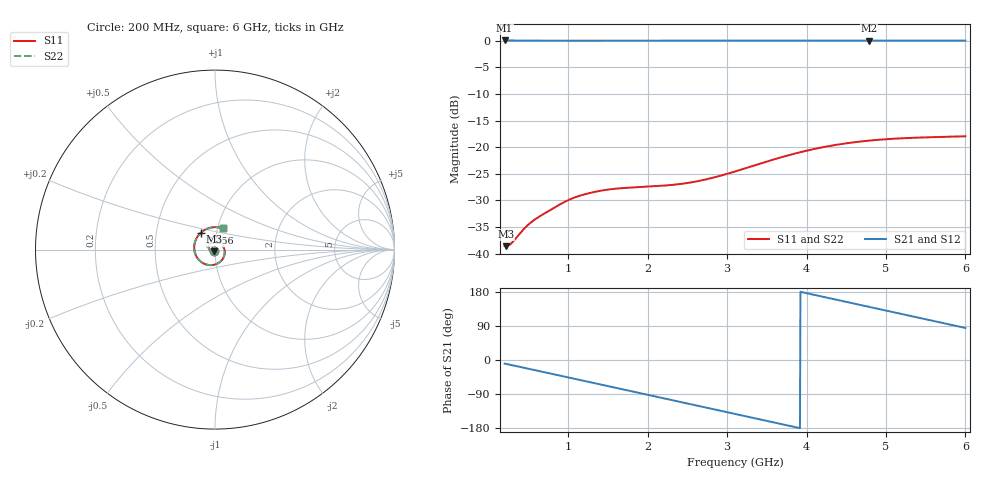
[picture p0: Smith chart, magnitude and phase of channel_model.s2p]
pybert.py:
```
import pandas as pd
import numpy as np

# 1. Загружаем CSV (проверь, что разделитель - табуляция или запятая. 
# Если файл разделен табуляцией, используй sep='\t', если запятой - sep=',')
df = pd.read_csv('ems/results/Port_0_data.csv', sep=',') # Попробуй sep=',' если возникнет ошибка

# 2. Извлекаем и конвертируем данные
# Частота: из МГц в ГГц
freq_ghz = df['Frequency [MHz]'] / 1000.0

# S11 (отражение на порту 1): берем модуль и переводим фазу из радиан в градусы
s11_mag = df['|S0-0| [-]']
s11_ang = np.degrees(df['Arg(S0-0) [rad]'])

# S21 (передача от порта 0 к порту 1): модуль и фаза в градусах
s21_mag = df['|S1-0| [-]']
s21_ang = np.degrees(df['Arg(S1-0) [rad]'])

# 3. Применяем допущение о симметрии и взаимности для пассивного канала
s22_mag = s11_mag.copy()
s22_ang = s11_ang.copy()
s12_mag = s21_mag.copy()
s12_ang = s21_ang.copy()

# 4. Собираем в новый DataFrame в строгом порядке для Touchstone:
# Freq, S11, S21, S12, S22
touchstone_df = pd.DataFrame({
    'freq': freq_ghz,
    's11_mag': s11_mag, 's11_ang': s11_ang,
    's21_mag': s21_mag, 's21_ang': s21_ang,
    's12_mag': s12_mag, 's12_ang': s12_ang,
    's22_mag': s22_mag, 's22_ang': s22_ang
})

# 5. Сохраняем в формат Touchstone (.s2p)
output_file = 'channel_model.s2p'
with open(output_file, 'w') as f:
    f.write("! Touchstone file converted from gerber2ems Port_0_data.csv\n")
    f.write("! Assumption: Channel is reciprocal and symmetric (S11=S22, S21=S12)\n")
    f.write("# GHz S MA R 50.0\n") # MA = Magnitude/Angle, R 50.0 = 50 Ом
    
    # Записываем строки данных
    for index, row in touchstone_df.iterrows():
        f.write(f"{row['freq']:.6e} "
                f"{row['s11_mag']:.6e} {row['s11_ang']:.6f} "
                f"{row['s21_mag']:.6e} {row['s21_ang']:.6f} "
                f"{row['s12_mag']:.6e} {row['s12_ang']:.6f} "
                f"{row['s22_mag']:.6e} {row['s22_ang']:.6f}\n")

print(f"✅ Файл успешно сохранен как {output_file}")
print("Не забудь проверить в PyBERT галочку 'Enforce Passivity' при загрузке!")
```
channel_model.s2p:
! Touchstone file converted from gerber2ems Port_0_data.csv
! Assumption: Channel is reciprocal and symmetric (S11=S22, S21=S12)
# GHz S MA R 50.0
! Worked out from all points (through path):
!   1001 points, 200 MHz to 6 GHz, reference 50 ohm
!   highest |S21| = 0.04 dB at 200 MHz (marker M1); lowest = 0.0 dB at 4.788 GHz (marker M2)
!   group delay of S21, straight-line fit = 127 ps
!   lowest |S11| = -38.6 dB at 217.4 MHz (marker M3), VSWR 1.02, Z = 49.3 - j0.947 ohm
!   |S11| at or under -10 dB: start of sweep to end of sweep
!   |S22| runs from -38.6 to -17.9 dB; largest |S21 - S12| = 0
!   S11 on the Smith chart (normalised r, x): 200 MHz: 0.99, -0.02; 5.356 GHz: 0.84, +0.16; 6 GHz: 1.06, +0.26
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0.2  0.01183 -124.1  1.005 -9.5  1.005 -9.5  0.01183 -124.1
0.2174  0.01176 -125.3  1.005 -10.3  1.005 -10.3  0.01176 -125.3
0.9772  0.03121 -179.4  1.001 -44.8  1.001 -44.8  0.03121 -179.4
1.7312  0.04152 122.6  1 -79.4  1 -79.4  0.04152 122.6
2.3924  0.04492 54.3  1.001 -109.8  1.001 -109.8  0.04492 54.3
3.1  0.05911 -25.6  1.001 -142.3  1.001 -142.3  0.05911 -25.6
3.5292  0.07441 -69.0  1.001 -162.0  1.001 -162.0  0.07441 -69.0
3.941  0.09045 -106.5  1 179.1  1 179.1  0.09045 -106.5
4.7878  0.1153 -179.2  0.9998 140.2  0.9998 140.2  0.1153 -179.2
5.3562  0.1226 130.4  1 114.2  1 114.2  0.1226 130.4
6  0.1266 69.0  1.002 84.6  1.002 84.6  0.1266 69.0
